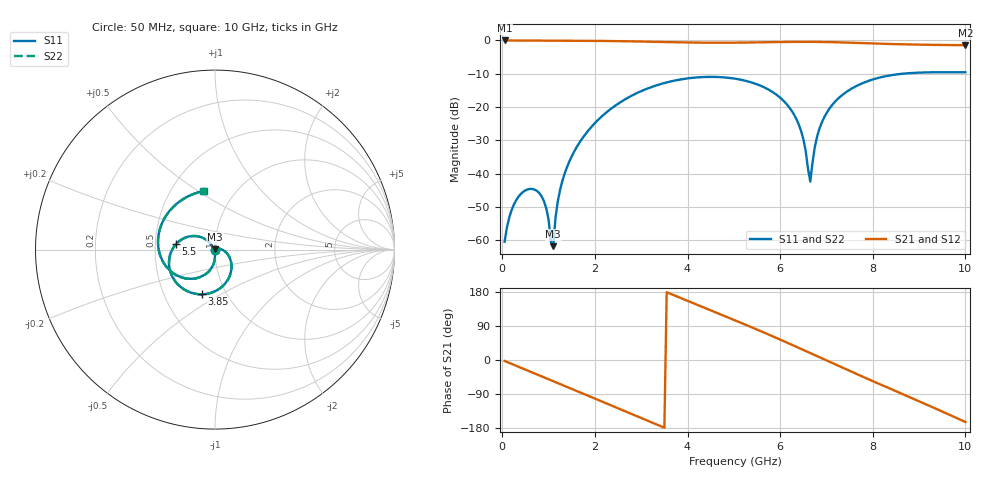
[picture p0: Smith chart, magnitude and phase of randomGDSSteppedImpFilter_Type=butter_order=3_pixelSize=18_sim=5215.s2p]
! freq	dB(S11)	phase(S11)	dB(S12)	phase(S12)
!  dB(S21)	phase(S21)	dB(S22)	phase(S22)
!S-par simulation data
#  GHz  S  DB  R 50
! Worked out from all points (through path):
!   200 points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, 50 MHz to 10 GHz, reference 50 ohm
!   highest |S21| = 0.00 dB at 50 MHz (marker M1); lowest = -1.4 dB at 10 GHz (marker M2)
!   group delay of S21, straight-line fit = 145 ps
!   lowest |S11| = -61.8 dB at 1.1 GHz (marker M3), VSWR 1.00, Z = 50 + j0.0799 ohm
!   |S11| at or under -10 dB: start of sweep to 8.648 GHz
!   |S22| runs from -60.5 to -9.6 dB; largest |S21 - S12| = 0
!   S11 on the Smith chart (normalised r, x): 50 MHz: 1.00, -0.00; 3.85 GHz: 0.77, -0.41; 5.5 GHz: 0.64, +0.04; 10 GHz: 0.72, +0.53
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0.05  -60.51 -56.0  -0.00 -2.6  -0.00 -2.6  -60.51 -56.1
0.3  -48.02 -99.2  -0.02 -15.3  -0.02 -15.3  -48.02 -99.4
0.65  -44.66 -123.0  -0.04 -33.0  -0.04 -33.0  -44.66 -123.7
0.9  -48.32 -140.6  -0.06 -45.7  -0.06 -45.7  -48.30 -142.5
1.1  -61.85 81.3  -0.07 -55.9  -0.07 -55.9  -60.44 88.5
1.2  -48.24 38.3  -0.07 -60.9  -0.07 -60.9  -48.13 41.4
1.3  -42.10 29.0  -0.08 -66.0  -0.08 -66.0  -42.06 30.8
1.75  -29.01 2.3  -0.11 -89.0  -0.11 -89.0  -29.01 3.0
2.45  -19.50 -34.7  -0.20 -124.9  -0.20 -124.9  -19.50 -34.3
3.4  -13.20 -83.5  -0.44 -173.6  -0.44 -173.6  -13.20 -83.2
3.85  -11.73 -106.1  -0.57 163.6  -0.57 163.6  -11.73 -105.8
5.05  -11.55 -165.5  -0.67 103.5  -0.67 103.5  -11.55 -165.3
5.5  -13.19 171.9  -0.59 80.4  -0.59 80.4  -13.19 172.1
6.3  -22.30 132.6  -0.43 37.6  -0.43 37.6  -22.30 132.7
6.5  -29.63 128.6  -0.41 26.6  -0.41 26.6  -29.66 128.4
6.65  -42.44 -150.3  -0.42 18.3  -0.42 18.3  -42.79 -149.2
6.7  -36.60 -102.9  -0.42 15.5  -0.42 15.5  -36.67 -101.3
6.85  -26.46 -91.2  -0.44 7.2  -0.44 7.2  -26.46 -90.4
7.15  -18.96 -102.9  -0.52 -9.5  -0.52 -9.5  -18.96 -102.3
8.35  -10.56 -166.5  -1.07 -74.3  -1.07 -74.3  -10.56 -165.9
9.15  -9.61 149.2  -1.30 -117.0  -1.30 -117.0  -9.61 150.0
10  -9.58 100.9  -1.45 -163.6  -1.45 -163.6  -9.59 102.0
